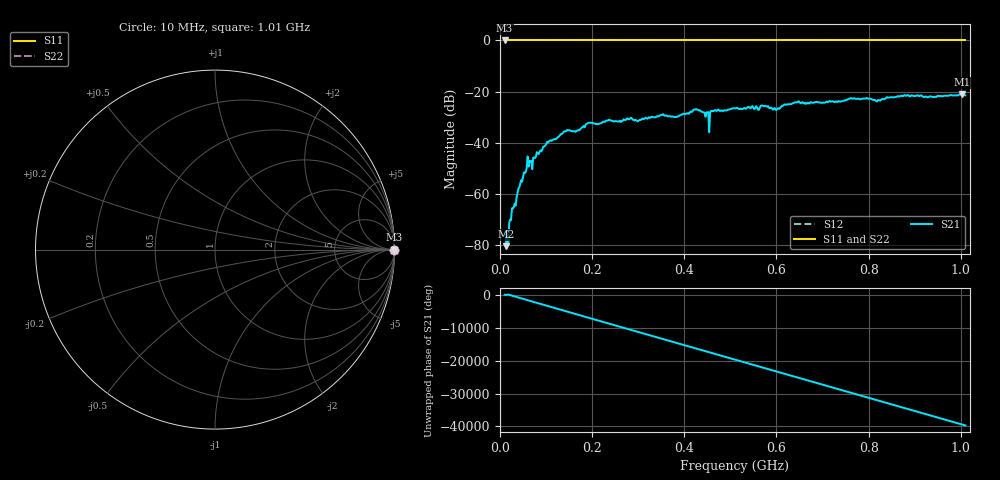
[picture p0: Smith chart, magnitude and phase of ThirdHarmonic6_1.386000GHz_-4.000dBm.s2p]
! 8/16/2025 3:46:12 PM
! C:\ANRITSUVNA\TEMP\TEMP.S2P
! CHANNEL.1
! TR.MEASUREMENT
! RAW.DATA
! RF.CORRECTION.OFF
! AVERAGING.OFF
! IF.BANDWIDTH: 5KHZ
! SWEEPTYPE:  FREQ.SWEEP(Linear)
! Reference Plane Port Info
! PORT:  PORT1  PORT2
! DISTANCE:  0  m  0  m
! TIME:  0  s  0  s
! PHASE.OFFSET:  0  deg.  0  deg.
! LOSS:  0  dB  0  dB
! REF.LOSS:  0  dB  0  dB
! REF.FREQ:  0  Hz  0  Hz
! Power Info
! POWER:  -20  dBm  -20  dBm
! EFF.POWER:  -20  dBm  -20  dBm
! SOURCE.ATTEN:  0  dB  0  dB
! TEST.ATTEN:  0  dB  0  dB
# GHZ S RI R 50.0
! FREQ.GHZ  S11RE  S11IM  S21RE  S21IM  S12RE  S12IM  S22RE  S22IM
!; PortSelection: Port_12
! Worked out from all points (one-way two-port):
!   501 points, 10 MHz to 1.01 GHz, reference 50 ohm
!   highest |S21| = -21.00 dB at 1.002 GHz (marker M1); lowest = -80.5 dB at 14 MHz (marker M2)
!   lowest |S11| = 0.0 dB at 10 MHz (marker M3)
!   |S11| at or under -10 dB: nowhere
!   |S22| runs from 0.0 to 0.0 dB; largest |S21 - S12| = 1.1
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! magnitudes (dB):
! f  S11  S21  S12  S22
! 10 MHz  0.0  -76.3  0.0  0.0
! 14 MHz  0.0  -80.5  0.0  0.0
! 18 MHz  0.0  -79.1  0.0  0.0
! 24 MHz  0.0  -70.3  0.0  0.0
! 42 MHz  0.0  -57.5  0.0  0.0
! 64 MHz  0.0  -47.1  0.0  0.0
! 66 MHz  0.0  -47.3  0.0  0.0
! 106 MHz  0.0  -39.6  0.0  0.0
! 178 MHz  0.0  -34.0  0.0  0.0
! 194 MHz  0.0  -32.2  0.0  0.0
! 344 MHz  0.0  -29.7  0.0  0.0
! 382 MHz  0.0  -30.0  0.0  0.0
! 424 MHz  0.0  -27.1  0.0  0.0
! 448 MHz  0.0  -28.2  0.0  0.0
! 450 MHz  0.0  -28.1  0.0  0.0
! 462 MHz  0.0  -27.7  0.0  0.0
! 510 MHz  0.0  -26.6  0.0  0.0
! 596 MHz  0.0  -26.5  0.0  0.0
! 678 MHz  0.0  -24.4  0.0  0.0
! 844 MHz  0.0  -22.4  0.0  0.0
! 1.002 GHz  0.0  -21.0  0.0  0.0
! 1.01 GHz  0.0  -21.5  0.0  0.0
